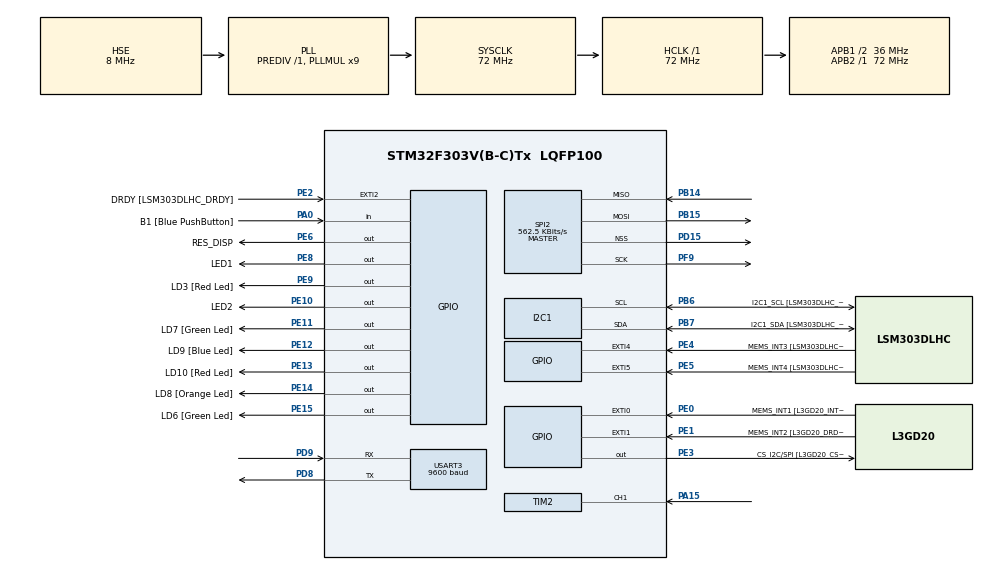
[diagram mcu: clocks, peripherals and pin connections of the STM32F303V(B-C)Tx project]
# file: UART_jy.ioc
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CRC.CRCLength=CRC_POLYLENGTH_8B
CRC.DefaultInitValueUse=DEFAULT_INIT_VALUE_DISABLE
CRC.DefaultPolynomialUse=DEFAULT_POLYNOMIAL_DISABLE
CRC.GeneratingPolynomial=X5+X4+X0
CRC.InputDataFormat=CRC_INPUTDATA_FORMAT_WORDS
I2C1.Timing-I2C=0x2000090E
Mcu.Family=STM32F3
Mcu.Name=STM32F303V(B-C)Tx
Mcu.Package=LQFP100
NVIC.PriorityGroup=NVIC_PRIORITYGROUP_0
NVIC.TIM2_IRQn=true\:0\:0\:false\:false\:true\:true\:true
NVIC.USART3_IRQn=true\:0\:0\:false\:false\:true\:true\:true
PA0.GPIO_Label=B1 [Blue PushButton]
PA0.Signal=GPIO_Input
PA11.GPIO_Label=DM
PA11.Signal=USB_DM
PA12.GPIO_Label=DP
PA12.Signal=USB_DP
PA13.GPIO_Label=SWDIO
PA13.Signal=SYS_JTMS-SWDIO
PA14.GPIO_Label=SWCLK
PA14.Signal=SYS_JTCK-SWCLK
PA15.Signal=S_TIM2_CH1_ETR
PA5.GPIO_Label=SPI1_SCK [L3GD20_SCL/SPC]
PA5.Signal=SPI1_SCK
PA6.GPIO_Label=SPI1_MISO [L3GD20_SA0/SDO]
PA6.Signal=SPI1_MISO
PA7.GPIO_Label=SPI1_MISO [L3GD20_SDA/SDI/SDO]
PA7.Signal=SPI1_MOSI
PB14.Mode=Full_Duplex_Master
PB14.Signal=SPI2_MISO
PB15.Mode=Full_Duplex_Master
PB15.Signal=SPI2_MOSI
PB3.GPIO_Label=SWO
PB3.Signal=SYS_JTDO-TRACESWO
PB6.GPIO_Label=I2C1_SCL [LSM303DLHC_SCL]
PB6.Mode=I2C
PB6.Signal=I2C1_SCL
PB7.GPIO_Label=I2C1_SDA [LSM303DLHC_SDA]
PB7.Mode=I2C
PB7.Signal=I2C1_SDA
PC14-OSC32_IN.GPIO_Label=OSC32_IN
PC14-OSC32_IN.Signal=RCC_OSC32_IN
PC15-OSC32_OUT.GPIO_Label=OSC32_OUT
PC15-OSC32_OUT.Signal=RCC_OSC32_OUT
PD15.Mode=NSS_Signal_Hard_Output
PD15.Signal=SPI2_NSS
PD8.Mode=Asynchronous
PD8.Signal=USART3_TX
PD9.Mode=Asynchronous
PD9.Signal=USART3_RX
PE0.GPIO_Label=MEMS_INT1 [L3GD20_INT1]
PE0.GPIO_ModeDefaultEXTI=GPIO_MODE_EVT_RISING
PE0.Signal=GPXTI0
PE1.GPIO_Label=MEMS_INT2 [L3GD20_DRDY/INT2]
PE1.GPIO_ModeDefaultEXTI=GPIO_MODE_EVT_RISING
PE1.Signal=GPXTI1
PE10.GPIO_Label=LED2
PE10.Signal=GPIO_Output
PE11.GPIO_Label=LD7 [Green Led]
PE11.Signal=GPIO_Output
PE12.GPIO_Label=LD9 [Blue Led]
PE12.Signal=GPIO_Output
PE13.GPIO_Label=LD10 [Red Led]
PE13.Signal=GPIO_Output
PE14.GPIO_Label=LD8 [Orange Led]
PE14.Signal=GPIO_Output
PE15.GPIO_Label=LD6 [Green Led]
PE15.Signal=GPIO_Output
PE2.GPIO_Label=DRDY [LSM303DLHC_DRDY]
PE2.GPIO_ModeDefaultEXTI=GPIO_MODE_EVT_RISING
PE2.Signal=GPXTI2
PE3.GPIO_Label=CS_I2C/SPI [L3GD20_CS_I2C/SPI]
PE3.Signal=GPIO_Output
PE4.GPIO_Label=MEMS_INT3 [LSM303DLHC_INT1]
PE4.GPIO_ModeDefaultEXTI=GPIO_MODE_EVT_RISING
PE4.Signal=GPXTI4
PE5.GPIO_Label=MEMS_INT4 [LSM303DLHC_INT2]
PE5.GPIO_ModeDefaultEXTI=GPIO_MODE_EVT_RISING
PE5.Signal=GPXTI5
PE6.GPIO_Label=RES_DISP
PE6.Signal=GPIO_Output
PE8.GPIO_Label=LED1
PE8.Signal=GPIO_Output
PE9.GPIO_Label=LD3 [Red Led]
PE9.Signal=GPIO_Output
PF0-OSC_IN.GPIO_Label=OSC_IN
PF0-OSC_IN.Mode=HSE-External-Oscillator
PF0-OSC_IN.Signal=RCC_OSC_IN
PF1-OSC_OUT.GPIO_Label=OSC_OUT
PF1-OSC_OUT.Mode=HSE-External-Oscillator
PF1-OSC_OUT.Signal=RCC_OSC_OUT
PF9.Mode=Full_Duplex_Master
PF9.Signal=SPI2_SCK
ProjectManager.HeapSize=0x200
ProjectManager.StackSize=0x400
ProjectManager.TargetToolchain=EWARM V8
RCC.AHBFreq_Value=72000000
RCC.APB1CLKDivider=RCC_HCLK_DIV2
RCC.APB1Freq_Value=36000000
RCC.APB1TimFreq_Value=72000000
RCC.APB2Freq_Value=72000000
RCC.APB2TimFreq_Value=72000000
RCC.CortexFreq_Value=72000000
RCC.HCLKFreq_Value=72000000
RCC.HSE_VALUE=8000000
RCC.HSI_VALUE=8000000
RCC.LSE_VALUE=32768
RCC.PLLMUL=RCC_PLL_MUL9
RCC.PLLSourceVirtual=RCC_PLLSOURCE_HSE
RCC.PRESCALERUSB=RCC_USBCLKSOURCE_PLL_DIV1_5
RCC.SYSCLKFreq_VALUE=72000000
RCC.SYSCLKSourceVirtual=RCC_SYSCLKSOURCE_PLLCLK
RCC.USBFreq_Value=48000000
RTC.Year=19
SH.S_TIM2_CH1_ETR.0=TIM2_CH1,TriggerSource_TI1FP1
SH.S_TIM2_CH1_ETR.1=TIM2_CH1,Input_Capture1_from_TI1
SH.S_TIM2_CH1_ETR.2=TIM2_CH1,Input_Capture2_from_TI1
SPI2.BaudRatePrescaler=SPI_BAUDRATEPRESCALER_64
SPI2.CLKPhase=SPI_PHASE_2EDGE
SPI2.CLKPolarity=SPI_POLARITY_HIGH
SPI2.CalculateBaudRate=562.5 KBits/s
SPI2.DataSize=SPI_DATASIZE_8BIT
SPI2.Direction=SPI_DIRECTION_2LINES
SPI2.FirstBit=SPI_FIRSTBIT_LSB
SPI2.Mode=SPI_MODE_MASTER
SPI2.VirtualNSS=VM_NSSHARD
SPI2.VirtualType=VM_MASTER
TIM2.Channel-Input_Capture1_from_TI1=TIM_CHANNEL_1
TIM2.Channel-Input_Capture2_from_TI1=TIM_CHANNEL_2
TIM2.ICPolarity_CH2=TIM_INPUTCHANNELPOLARITY_FALLING
TIM2.Period=0xFFFF
TIM2.Prescaler=71
USART3.BaudRate=9600
USART3.VirtualMode-Asynchronous=VM_ASYNC
VP_CRC_VS_CRC.Mode=CRC_Activate
VP_RTC_VS_RTC_Activate.Mode=RTC_Enabled
VP_RTC_VS_RTC_Calendar.Mode=RTC_Calendar
VP_TIM2_VS_ClockSourceINT.Mode=Internal
VP_TIM2_VS_ControllerModeReset.Mode=Reset Mode
board=STM32F3DISCOVERY

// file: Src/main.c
/* USER CODE BEGIN Header */
/**
  ******************************************************************************
  * @file           : main.c
  * @brief          : Main program body
  ******************************************************************************
  * @attention
  *
  * <h2><center>&copy; Copyright (c) 2019 STMicroelectronics.
  * All rights reserved.</center></h2>
  *
  * This software component is licensed by ST under BSD 3-Clause license,
  * the "License"; You may not use this file except in compliance with the
  * License. You may obtain a copy of the License at:
  *                        opensource.org/licenses/BSD-3-Clause
  *
  ******************************************************************************
  */
/* USER CODE END Header */

#include "main.h"
#include "crc.h"
#include "i2c.h"
#include "rtc.h"
#include "spi.h"
#include "tim.h"
#include "usart.h"
#include "gpio.h"

/* USER CODE BEGIN Includes */
#include "display.h"
/* USER CODE END Includes */

void SystemClock_Config(void);

/* USER CODE BEGIN 0 */
    ITStatus UartReady = RESET;
    /* Size of Transmission buffer */
    #define BUFFERSIZE 6
    uint8_t Buffer[] = "Hello World interrupt!";
    uint8_t RXBuffer[]= "";

    /* Buffers used for displaying Time and Date */
    uint8_t aShowTime[50] = {0};
    uint8_t aShowDate[50] = {0};

/**
* @brief Tx Transfer completed callback
* @param UartHandle: UART handle.
* @note This example shows a simple way to report end of IT Tx transfer, and
* you can add your own implementation.
* @retval None
*/
void HAL_UART_TxCpltCallback(UART_HandleTypeDef *UartHandle)
{
 /* Set transmission flag: transfer complete*/
 UartReady = SET;

}
/**
* @brief Rx Transfer completed callback
* @param UartHandle: UART handle
* @note This example shows a simple way to report end of IT Rx transfer, and
* you can add your own implementation.
* @retval None
*/
void HAL_UART_RxCpltCallback(UART_HandleTypeDef *UartHandle)
{

 /* Set transmission flag: trasfer complete*/
    selectRow(0);
    printf("Printing to display..\n");
    for (size_t i = 0; i < 6; i++) {
      sendDataToDisplay(RXBuffer[i]);
      if (i == 1 || i == 3 ) {
      sendDataToDisplay(58);
      }
    }
 UartReady = SET;

}
/* USER CODE END 0 */

int main(void)
{

  /* MCU Configuration--------------------------------------------------------*/

  /* Reset of all peripherals, Initializes the Flash interface and the Systick. */
  HAL_Init();

  /* Configure the system clock */
  SystemClock_Config();

  /* Initialize all configured peripherals */
  MX_GPIO_Init();
  MX_I2C1_Init();
  MX_RTC_Init();
  MX_USART3_UART_Init();
  MX_SPI2_Init();
  MX_CRC_Init();
  MX_TIM2_Init();
  /* USER CODE BEGIN 2 */
    initDisplay();
    selectRow(0);
    RTC_CalendarSet()
//  HAL_UART_Transmit(&huart3, (uint8_t*)hello, strlen(hello), 5000);
  /* USER CODE END 2 */

  /* Infinite loop */
  while (1)
  {

    /* USER CODE BEGIN 3 */

    RTC_CalendarShow(aShowTime, aShowDate);

     /* Start the transmission process */
     if(HAL_UART_Transmit_IT(&huart3, (uint8_t *)RXBuffer, BUFFERSIZE)!= HAL_OK)
     {
     Error_Handler();
     }

     /* Wait for the end of the transfer */
     while (UartReady != SET)
     {
     }
     /* Reset transmission flag */
     UartReady = RESET;
     /* Put UART peripheral in reception process */
     if(HAL_UART_Receive_IT(&huart3, (uint8_t *)RXBuffer, BUFFERSIZE) != HAL_OK)
     {
     Error_Handler();
     }

     /* Wait for the end of the transfer */
     while (UartReady != SET)
     {
     }
     /* Reset transmission flag */
     UartReady = RESET;
    }

  /* USER CODE END 3 */
}

void SystemClock_Config(void)
{
  RCC_OscInitTypeDef RCC_OscInitStruct = {0};
  RCC_ClkInitTypeDef RCC_ClkInitStruct = {0};
  RCC_PeriphCLKInitTypeDef PeriphClkInit = {0};

  /** Initializes the CPU, AHB and APB busses clocks
  */
  RCC_OscInitStruct.OscillatorType = RCC_OSCILLATORTYPE_HSI|RCC_OSCILLATORTYPE_LSI
                              |RCC_OSCILLATORTYPE_HSE;
  RCC_OscInitStruct.HSEState = RCC_HSE_ON;
  RCC_OscInitStruct.HSEPredivValue = RCC_HSE_PREDIV_DIV1;
  RCC_OscInitStruct.HSIState = RCC_HSI_ON;
  RCC_OscInitStruct.HSICalibrationValue = RCC_HSICALIBRATION_DEFAULT;
  RCC_OscInitStruct.LSIState = RCC_LSI_ON;
  RCC_OscInitStruct.PLL.PLLState = RCC_PLL_ON;
  RCC_OscInitStruct.PLL.PLLSource = RCC_PLLSOURCE_HSE;
  RCC_OscInitStruct.PLL.PLLMUL = RCC_PLL_MUL9;
  if (HAL_RCC_OscConfig(&RCC_OscInitStruct) != HAL_OK)
  {
    Error_Handler();
  }
  /** Initializes the CPU, AHB and APB busses clocks
  */
  RCC_ClkInitStruct.ClockType = RCC_CLOCKTYPE_HCLK|RCC_CLOCKTYPE_SYSCLK
                              |RCC_CLOCKTYPE_PCLK1|RCC_CLOCKTYPE_PCLK2;
  RCC_ClkInitStruct.SYSCLKSource = RCC_SYSCLKSOURCE_PLLCLK;
  RCC_ClkInitStruct.AHBCLKDivider = RCC_SYSCLK_DIV1;
  RCC_ClkInitStruct.APB1CLKDivider = RCC_HCLK_DIV2;
  RCC_ClkInitStruct.APB2CLKDivider = RCC_HCLK_DIV1;

  if (HAL_RCC_ClockConfig(&RCC_ClkInitStruct, FLASH_LATENCY_2) != HAL_OK)
  {
    Error_Handler();
  }
  PeriphClkInit.PeriphClockSelection = RCC_PERIPHCLK_USART3|RCC_PERIPHCLK_I2C1
                              |RCC_PERIPHCLK_RTC;
  PeriphClkInit.Usart3ClockSelection = RCC_USART3CLKSOURCE_PCLK1;
  PeriphClkInit.I2c1ClockSelection = RCC_I2C1CLKSOURCE_HSI;
  PeriphClkInit.RTCClockSelection = RCC_RTCCLKSOURCE_LSI;
  if (HAL_RCCEx_PeriphCLKConfig(&PeriphClkInit) != HAL_OK)
  {
    Error_Handler();
  }
}

void Error_Handler(void)
{
}

/************************ (C) COPYRIGHT STMicroelectronics *****END OF FILE****/
